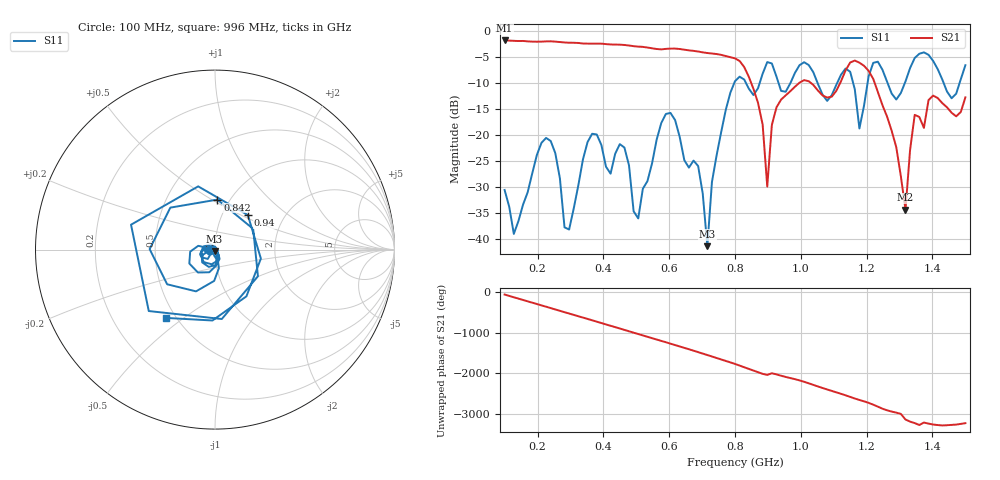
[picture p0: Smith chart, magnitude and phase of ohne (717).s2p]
! NanoVNA-App
! Date: 2025-09-25 14:26:23
! Start: 100MHz Stop: 1,5GHz Points: 101
! S-Parameter data: F S11 S21 S12 S22
# Hz S RI R 50
!  Frequency  S11_Real  S11_Imag  S21_Real  S21_Imag  S12_Real  S12_Imag  S22_Real  S22_Imag
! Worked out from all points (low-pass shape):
!   101 points, 100 MHz to 1.5 GHz, reference 50 ohm
!   highest |S21| = -1.79 dB at 100 MHz (marker M1); lowest = -34.4 dB at 1.318 GHz (marker M2)
!   |S21| within 3 dB of the highest: start of sweep to 771.6 MHz
!   lowest |S11| = -41.5 dB at 716 MHz (marker M3), VSWR 1.02, Z = 49.8 - j0.815 ohm
!   |S11| at or under -10 dB: start of sweep to 797.8 MHz; 833.3 MHz to 875 MHz (41.72 MHz wide, 4.88 % of centre); 1.051 GHz to 1.11 GHz (59.52 MHz wide, 5.51 % of centre) (the widest 3 of 7)
!   S12 and S22 are empty: the file has one direction only
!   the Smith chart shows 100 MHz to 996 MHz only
!   S11 on the Smith chart (normalised r, x): 100 MHz: 0.94, -0.01; 842 MHz: 0.88, +0.53; 940 MHz: 1.32, +0.55; 996 MHz: 0.44, -0.43
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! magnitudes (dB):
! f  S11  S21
! 100 MHz  -30.6  -1.8
! 128 MHz  -39.1  -1.9
! 226 MHz  -20.6  -2.0
! 296 MHz  -38.3  -2.2
! 338 MHz  -24.7  -2.4
! 464 MHz  -22.4  -2.7
! 506 MHz  -36.1  -3.0
! 576 MHz  -17.7  -3.5
! 688 MHz  -26.0  -3.9
! 716 MHz  -41.5  -4.2
! 800 MHz  -9.6  -5.2
! 842 MHz  -11.1  -8.8
! 898 MHz  -6.0  -30.0
! 940 MHz  -11.5  -13.2
! 996 MHz  -6.6  -9.9
! 1.038 GHz  -7.9  -10.4
! 1.178 GHz  -18.8  -6.1
! 1.22 GHz  -6.1  -9.2
! 1.276 GHz  -12.0  -19.2
! 1.318 GHz  -9.7  -34.4
! 1.346 GHz  -5.2  -16.1
! 1.5 GHz  -6.6  -12.8
